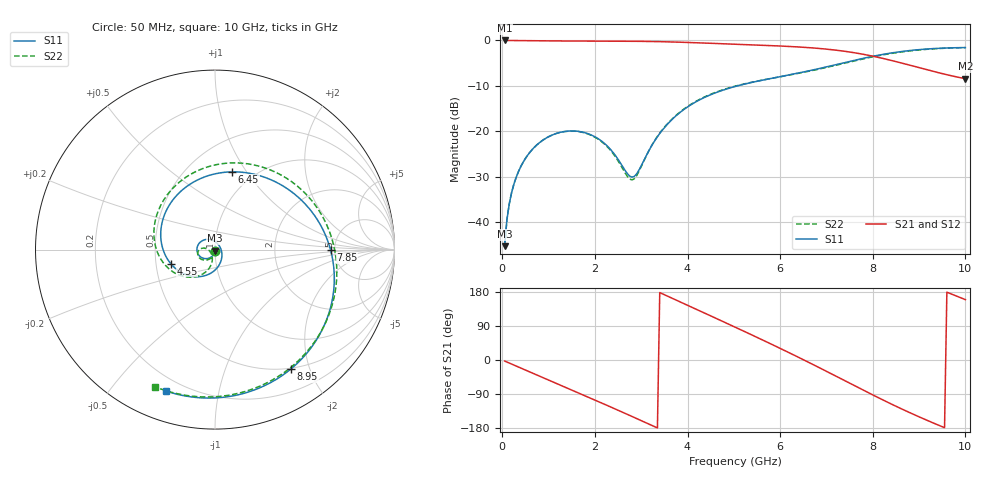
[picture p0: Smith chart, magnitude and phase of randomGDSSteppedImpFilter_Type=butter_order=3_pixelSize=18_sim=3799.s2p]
! freq	dB(S11)	phase(S11)	dB(S12)	phase(S12)
!  dB(S21)	phase(S21)	dB(S22)	phase(S22)
!S-par simulation data
#  GHz  S  DB  R 50
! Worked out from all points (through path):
!   200 points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, 50 MHz to 10 GHz, reference 50 ohm
!   highest |S21| = 0.00 dB at 50 MHz (marker M1); lowest = -8.4 dB at 10 GHz (marker M2)
!   group delay of S21, straight-line fit = 158 ps
!   lowest |S11| = -45.3 dB at 50 MHz (marker M3), VSWR 1.01, Z = 50 - j0.543 ohm
!   |S11| at or under -10 dB: start of sweep to 5.079 GHz
!   |S22| runs from -45.3 to -1.6 dB; largest |S21 - S12| = 0
!   S11 on the Smith chart (normalised r, x): 50 MHz: 1.00, -0.01; 4.55 GHz: 0.60, -0.10; 6.45 GHz: 0.80, +0.86; 7.85 GHz: 4.63, -0.07; 8.95 GHz: 0.49, -1.72; 10 GHz: 0.14, -0.70
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0.05  -45.30 -90.7  -0.00 -2.7  -0.00 -2.7  -45.30 -90.2
0.1  -39.45 -94.4  -0.01 -5.4  -0.01 -5.4  -39.44 -93.4
0.2  -33.56 -101.2  -0.02 -10.7  -0.02 -10.7  -33.55 -99.1
0.55  -25.24 -122.7  -0.05 -29.2  -0.05 -29.2  -25.23 -116.9
1.2  -20.38 -161.6  -0.11 -63.5  -0.11 -63.5  -20.39 -147.4
1.75  -20.23 163.6  -0.15 -92.5  -0.15 -92.5  -20.28 -171.1
2.25  -23.08 125.5  -0.16 -119.1  -0.16 -119.1  -23.24 173.3
2.8  -30.09 30.0  -0.18 -148.9  -0.18 -148.9  -30.72 -147.6
3.4  -20.49 -78.6  -0.27 177.9  -0.27 177.9  -20.41 -105.3
3.95  -15.00 -121.8  -0.42 147.2  -0.42 147.2  -14.90 -124.0
4.55  -11.74 -162.4  -0.65 113.6  -0.65 113.6  -11.65 -150.8
5.05  -10.08 164.9  -0.84 85.5  -0.84 85.5  -10.01 -174.7
5.45  -9.11 139.2  -0.99 62.7  -0.99 62.7  -9.07 165.2
5.85  -8.28 114.0  -1.16 39.5  -1.16 39.5  -8.28 143.8
6.45  -7.06 77.6  -1.47 3.9  -1.47 3.9  -7.13 108.6
6.7  -6.52 63.0  -1.65 -11.3  -1.65 -11.3  -6.61 92.6
7.3  -5.10 29.4  -2.26 -48.5  -2.26 -48.5  -5.22 51.7
7.85  -3.81 -0.4  -3.16 -82.9  -3.16 -82.9  -3.93 13.1
8.35  -2.84 -26.8  -4.28 -113.2  -4.28 -113.2  -2.94 -20.7
8.95  -2.07 -57.5  -5.86 -147.3  -5.86 -147.3  -2.14 -57.8
9.45  -1.72 -82.2  -7.18 -173.5  -7.18 -173.5  -1.77 -85.5
10  -1.58 -109.3  -8.42 159.2  -8.42 159.2  -1.58 -113.5
